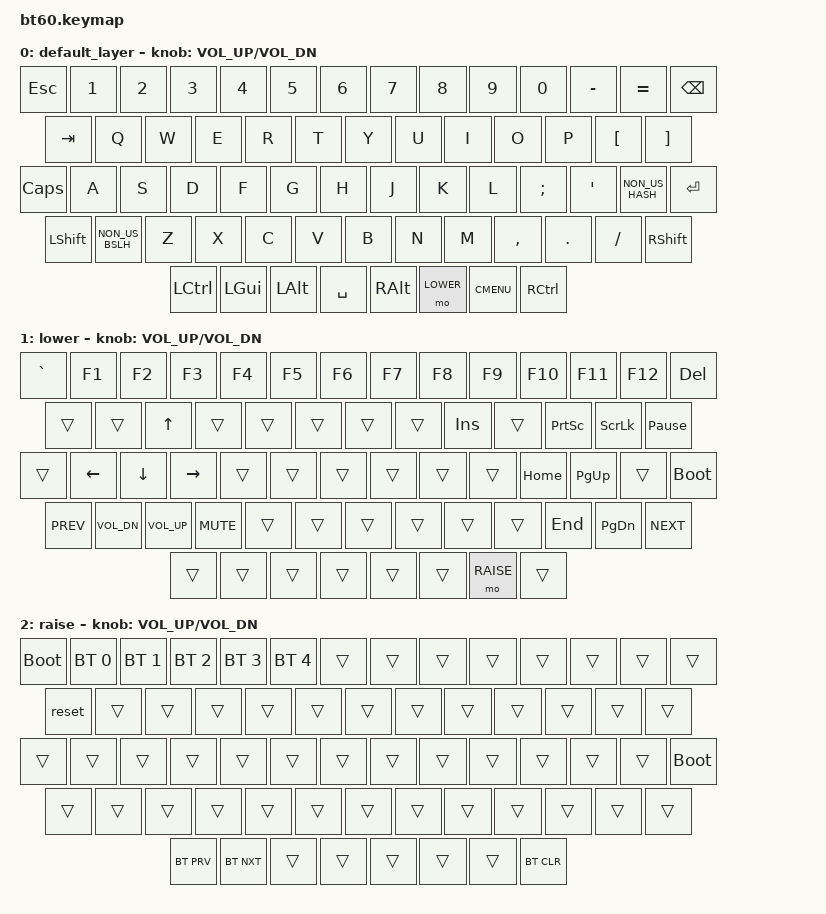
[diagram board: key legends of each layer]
#include <behaviors.dtsi>
#include <dt-bindings/zmk/keys.h>
#include <dt-bindings/zmk/bt.h>

#define DEFAULT 0
#define LOWER 1
#define RAISE 2

/ {
	keymap {
		compatible = "zmk,keymap";

		default_layer {
				// ------------------------------------------------------------------------------------------
				// | ESC |  1  |  2  |  3  |  4  |  5  |  6  |  7  |  8  |  9  |  0  |  -  |  =  |   BKSP   |
				// | TAB  |  Q  |  W  |  E  |  R  |  T  |  Y  |  U  |  I  |  O  |  P  |  [  |  ]  |         |
				// | CAPS  |  A  |  S  |  D  |  F  |  G  |  H  |  J  |  K  |  L  |  ;  |  '  |  #   | ENTER |
				// |  SHIFT | |  |  Z  |  X  |  C  |  V  |  B  |  N  |  M  |  ,  |  .  | /   |     SHIFT    |
				// |  CTL  |  WIN  |  ALT  |                     SPACE        |   ALT   |  1  | MENU | CTRL |
				// ------------------------------------------------------------------------------------------
			bindings = <
				&kp ESC &kp N1 &kp N2 &kp N3 &kp N4 &kp N5 &kp N6 &kp N7 &kp  N8   &kp  N9 &kp  N0  &kp MINUS &kp EQUAL &kp BSPC
				&kp TAB  &kp Q  &kp W  &kp E  &kp R  &kp T  &kp Y  &kp U  &kp  I    &kp  O  &kp  P   &kp LBKT &kp RBKT
				&kp CLCK  &kp A  &kp S  &kp D  &kp F  &kp G  &kp H  &kp J  &kp  K    &kp  L  &kp SEMI &kp SQT  &kp NON_US_HASH  &kp RET
				&kp LSHFT &kp NON_US_BSLH &kp Z  &kp X  &kp C  &kp V  &kp B  &kp N  &kp M  &kp COMMA &kp DOT &kp FSLH             &kp RSHFT
				&kp LCTRL &kp LGUI &kp LALT            &kp SPACE                          &kp RALT  &mo LOWER &kp K_CMENU &kp RCTRL
			>;
			sensor-bindings = <&inc_dec_kp C_VOL_UP C_VOL_DN>;
		};
		lower {
			bindings = <
				&kp GRAVE &kp F1 &kp F2 &kp F3 &kp F4 &kp F5 &kp F6 &kp F7 &kp  F8   &kp  F9 &kp  F10  &kp F11 &kp F12   &kp DEL
				&trans &trans &kp UP &trans &trans &trans &trans &trans &kp INS &trans &kp PSCRN &kp SLCK &kp PAUSE_BREAK
				&trans    &kp LEFT &kp DOWN &kp RIGHT &trans &trans &trans &trans &trans &trans &kp HOME  &kp PG_UP  &trans &bootloader
				&kp C_PREV &kp C_VOL_DN &kp C_VOL_UP &kp C_MUTE &trans &trans &trans &trans &trans &trans &kp END &kp PG_DN  &kp C_NEXT
				&trans &trans  &trans              &trans                            &trans   &trans   &mo RAISE &trans
			>;
			sensor-bindings = <&inc_dec_kp C_VOL_UP C_VOL_DN>;
		};
		raise {
			bindings = <
				&bootloader &bt BT_SEL 0 &bt BT_SEL 1 &bt BT_SEL 2 &bt BT_SEL 3 &bt BT_SEL 4 &trans &trans &trans &trans &trans &trans &trans &trans
				&reset &trans &trans &trans &trans &trans &trans &trans &trans &trans &trans &trans &trans
				&trans &trans &trans &trans &trans &trans &trans &trans &trans &trans &trans &trans  &trans &bootloader
				&trans &trans &trans &trans &trans &trans &trans &trans &trans &trans &trans &trans &trans
				&bt BT_PRV &bt BT_NXT  &trans              &trans                            &trans   &trans   &trans &bt BT_CLR
			>;
			sensor-bindings = <&inc_dec_kp C_VOL_UP C_VOL_DN>;
		};
	};
};
